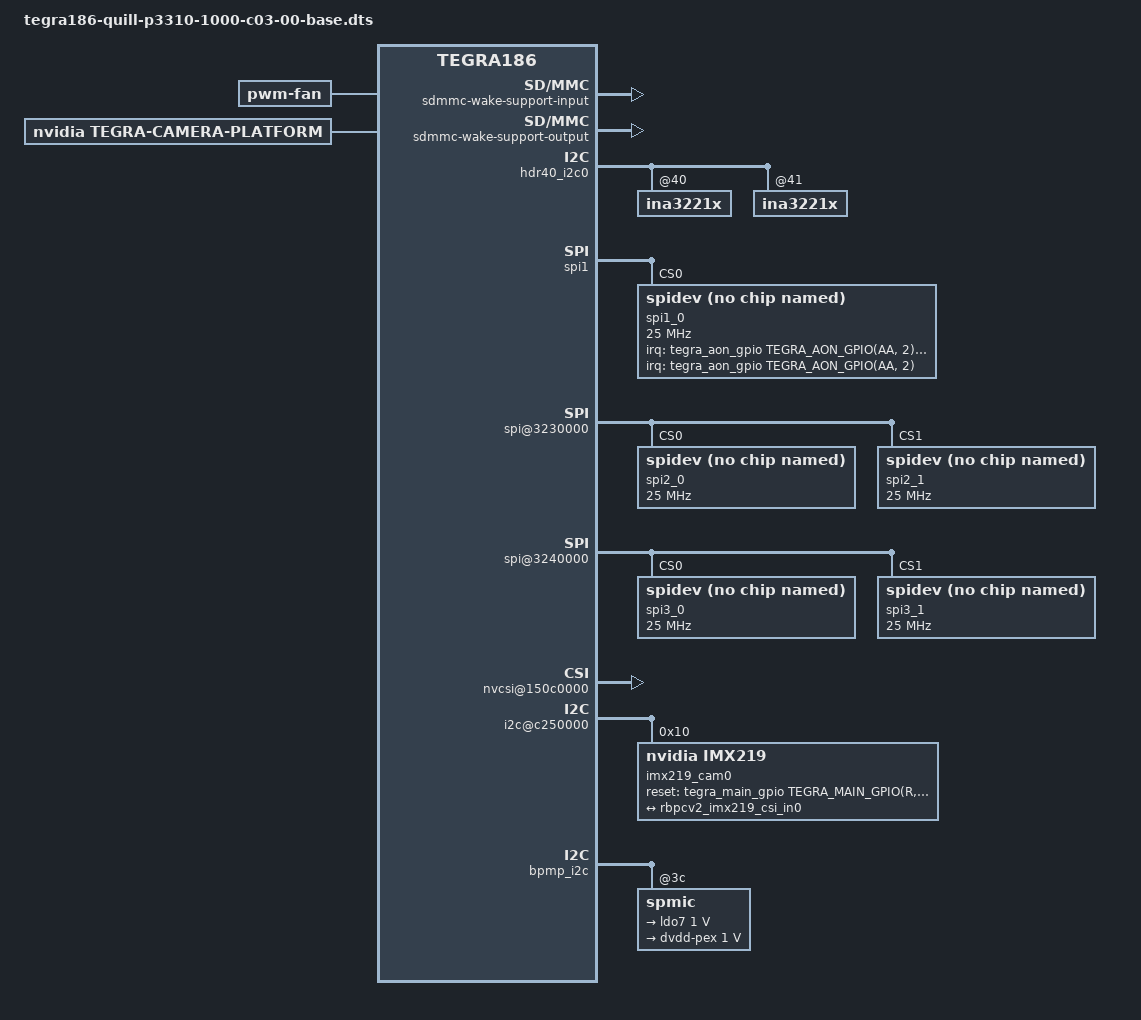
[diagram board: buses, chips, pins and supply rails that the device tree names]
/*
 * tegra186-quill-p3310-c03-00-base.dts Quill C03 Board
 *
 * Copyright (c) 2016-2019, NVIDIA CORPORATION. All rights reserved.
 *
 * This program is free software; you can redistribute it and/or modify
 * it under the terms of the GNU General Public License as published by
 * the Free Software Foundation; version 2 of the License.
 *
 * This program is distributed in the hope that it will be useful, but WITHOUT
 * ANY WARRANTY; without even the implied warranty of MERCHANTABILITY or
 * FITNESS FOR A PARTICULAR PURPOSE.  See the GNU General Public License for
 * more details.
 */

#include "tegra186-quill-p3310-1000-a00-00-base.dts"

/ {
	nvidia,dtsfilename = __FILE__;
	nvidia,dtbbuildtime = __DATE__, __TIME__;
	nvidia,fastboot-usb-vid = <0x0955>;
	nvidia,fastboot-usb-pid = <0xee16>;

	pinmux@2430000 {
		common {
			gpio_edp2_pp5 {
				status = "okay";
			};

			gpio_edp3_pp6 {
				status = "okay";
			};
		};
	};

	gpio@2200000 {
		/* gpio-name for 40-pin header, gpio-name given as COL(10) x ROW(20) */
		gpio-line-names = "",   "",     "",     "",     "",     "",     "",     "",     "",     "",
		"",     "",     "",    "",    "",     "",     "",    "",    "",     "",
		"",     "",     "",     "",     "",     "",     "",     "",     "",     "",
		"",     "",     "",     "",     "",     "",     "",     "",     "",      "",
		"",     "",     "",     "",     "",     "",     "",     "",     "",     "",
		"",    "",    "",     "",     "",     "",     "",     "",     "",     "",
		"",     "",     "",     "",     "",     "",     "",     "",     "GPIO8_ALS_PROX_INT",     "GPIO11_AP_WAKE_BT",
		"",     "",     "I2S0_CLK",     "I2S0_SDOUT",     "I2S0_SDIN",     "I2S0_LRCLK",     "AUDIO_MCLK",    "GPIO20_AUD_INT",    "GPIO1_AUD_RST",   "",
		"",     "",     "",     "",     "",     "",     "",     "",     "",     "",
		"",     "",     "",     "",     "",     "",     "",     "",     "",     "",
		"",     "",     "",     "",     "",     "",     "",     "SPI1_CLK",     "SPI1_MISO",     "SPI1_MOSI",
		"SPI1_CS0",     "",     "",     "",     "",     "",     "",     "",     "",     "",
		"",     "",     "",     "",     "",     "",     "",     "",     "",     "",
		"",     "",     "",     "",     "",     "",     "",     "",     "",     "",
		"",     "",     "",     "",     "",     "",     "UART0_RTS",     "UART0_CTS",     "",     "",
		"",     "",     "",     "",     "",     "",     "",     "",     "",     "",
		"",     "GPIO16_MDM_WAKE_AP",     "",     "",     "",     "",     "",     "",     "",   "",
		"",     "",     "",     "",     "",     "",     "",     "",     "",     "";

		sdmmc-wake-support-input {
			status = "okay";
		};

		sdmmc-wake-support-output {
			status = "okay";
		};
	};

	gpio@c2f0000 {
		/* gpio-name for 40-pin header, gpio-name given as COL(10) x ROW(20) */
		gpio-line-names = "",   "",     "",     "",     "",     "",     "",     "",     "",     "",
		"",     "",     "",    "",    "",     "",     "",    "",    "",     "",
		"",     "",     "",     "",     "",     "",     "",     "",     "",     "",
		"",     "",     "",     "",     "",     "",     "",     "",     "",      "",
		"AO_DMIC_IN_DAT",     "AO_DMIC_IN_CLK",     "GPIO9_MOTION_INT",     "",     "",     "",     "",     "",     "",     "",
		"",    "",    "",     "",     "",     "",     "",     "",     "",     "";
	};

	fixed-regulators {
		regulator@1 {
			gpio = <&tegra_main_gpio TEGRA_MAIN_GPIO(P, 6) 0>;
                };
	};

	sdhci@3400000 {
		cd-gpios = <&tegra_main_gpio TEGRA_MAIN_GPIO(P, 5) 0>;
		nvidia,cd-wakeup-capable;
	};

	hdr40_i2c0: i2c@3160000 {
		ina3221x@40 {
			channel@0 {
				ti,shunt-resistor-mohm = <10>;
			};
			channel@1 {
				ti,shunt-resistor-mohm = <10>;
			};
		};
		ina3221x@41 {
			channel@0 {
				ti,shunt-resistor-mohm = <20>;
			};
			channel@1 {
				ti,shunt-resistor-mohm = <10>;
			};
			channel@2 {
				ti,rail-name = "VDD_SYS_DDR";
				ti,shunt-resistor-mohm = <10>;
			};
		};
	};

	hdr40_i2c1: i2c@c240000 {
		bmi160@69 {
			compatible = "bmi,bmi160";
			reg = <0x69>;
			interrupt-parent = <&tegra_aon_gpio>;
			interrupts = <TEGRA_AON_GPIO(AA, 2) 0x01>;
			accelerometer_matrix    = [01 00 00 00 01 00 00 00 01];
			gyroscope_matrix        = [01 00 00 00 01 00 00 00 01];
			accelerometer_delay_us_min = <1250>;
			gyroscope_delay_us_min = <1250>;
			vdd-supply = <&spmic_sd3>;
			vdd_IO-supply = <&spmic_sd3>;
			status = "disabled";
		};
	};

	mttcan@c310000 {
		status = "okay";
		gpio_can_stb = <&tegra_aon_gpio TEGRA_AON_GPIO(AA, 0) GPIO_ACTIVE_HIGH>;
		gpio_can_en = <&tegra_aon_gpio TEGRA_AON_GPIO(AA, 1) GPIO_ACTIVE_HIGH>;
	};

	mttcan@c320000 {
		status = "okay";
		gpio_can_stb = <&tegra_aon_gpio TEGRA_AON_GPIO(AA, 6) GPIO_ACTIVE_HIGH>;
		gpio_can_en = <&tegra_aon_gpio TEGRA_AON_GPIO(AA, 7) GPIO_ACTIVE_HIGH>;
	};

	ahci-sata@3507000 {
		gpios = <&spmic 7 0>;
	};

	pcie-controller@10003000 {
		pci@1,0 {
			nvidia,num-lanes = <4>;
			nvidia,disable-clock-request;
		};
		pci@2,0 {
			nvidia,num-lanes = <0>;
		};
		pci@3,0 {
			nvidia,num-lanes = <1>;
		};
	};

        xhci@3530000 {
		phys = <&{/xusb_padctl@3520000/pads/usb2/lanes/usb2-0}>,
			<&{/xusb_padctl@3520000/pads/usb2/lanes/usb2-1}>,
			<&{/xusb_padctl@3520000/pads/usb2/lanes/usb2-2}>;			//usb3-1 removed for J140(fd)
		phy-names = "usb2-0", "usb2-1", "usb2-2";
		nvidia,boost_cpu_freq = <1200>;
	};

	xusb_padctl@3520000 {
		/*ports {										//removed for J140(fd)
			usb3-1 {
				status = "disabled";
			};
			usb3-0 {
				nvidia,usb2-companion = <1>;
				status = "okay";
			};
		};*/
	};

	fixed-regulators {						//added for fan on J140(fd)
		vdd_fan: regulator@13 {
			gpio = <&tegra_main_gpio TEGRA_MAIN_GPIO(J, 6) GPIO_ACTIVE_LOW>;  
		};
	};

	pwm_fan_shared_data: pfsd {					//added for fan on J140(fd)
		status = "okay";
		num_resources = <0>;
		secret = <47>;
		active_steps = <10>;
		active_rpm = <0 1000 2000 3000 4000 5000 6000 7000 10000 11000>;
		rpm_diff_tolerance = <2>;
		active_rru = <40 2 1 1 1 1 1 1 1 1>;
		active_rrd = <40 2 1 1 1 1 1 1 1 1>;
		state_cap_lookup = <2 2 2 2 3 3 3 4 4 4>;
		pwm_period = <45334>;
		pwm_id = <3>;
		step_time = <100>; /* mesecs */
		state_cap = <7>;
		active_pwm_max = <256>;
		tach_period = <1000>;
		/*pwm_gpio = <&tegra_aon_gpio TEGRA_AON_GPIO(V, 6) GPIO_ACTIVE_LOW>; /* TEGRA_MAIN_GPIO_PV6 */
		pwm_gpio = <&tegra_main_gpio TEGRA_MAIN_GPIO(J, 6) GPIO_ACTIVE_LOW>; /* TEGRA_MAIN_GPIO_PJ6 */
	};
	pwm-fan {							//added for fan on J140(fd)
		status = "okay";
		compatible = "pwm-fan";

		shared_data = <&pwm_fan_shared_data>;
		active_pwm = <0 80 120 160 255 255 255 255 255 255>;
	};


	/delete-node/ spi@c260000;						//deleted(fd)

	spi1: spi@c260000 {							//new added(fd)
		status="okay";
		compatible = "nvidia,tegra186-spi";
		reg = <0x0 0x0c260000 0x0 0x10000>;
		interrupts = <0 37 0x04>;
		#address-cells = <1>;
		#size-cells = <0>;
		iommus = <&smmu TEGRA_SID_GPCDMA_0>;
		dmas = <&gpcdma 16>, <&gpcdma 16>;
		dma-names = "rx", "tx";
		nvidia,clk-parents = "pll_p", "osc";
		spi-max-frequency = <25000000>;
		clocks = <&tegra_car TEGRA186_CLK_SPI2>,
			<&tegra_car TEGRA186_CLK_PLLP_OUT0>,
			<&tegra_car TEGRA186_CLK_OSC>;
		clock-names = "spi", "pll_p", "osc";
		resets = <&tegra_car TEGRA186_RESET_SPI2>;
		reset-names = "spi";
			
		spi1_0 {
			status = "okay";
			#address-cells = <0x1>;
			#size-cells = <0x0>;
			compatible = "spidev";
			reg = <0>;
			spi-max-frequency = <25000000>;
			nvidia,enable-hw-based-cs;
			nvidia,cs-setup-clk-count = <0x1e>;
			nvidia,cs-hold-clk-count = <0x1e>;
			nvidia,rx-clk-tap-delay = <0x1f>;
			nvidia,tx-clk-tap-delay = <0x0>;			

			irq-gpio = <&tegra_aon_gpio TEGRA_AON_GPIO(AA, 2) 0x01>;
			interrupt-parent = <&tegra_aon_gpio>;
			interrupts = <TEGRA_AON_GPIO(AA, 2) 0x01>; // GPIO_PAA2
		};
	};

	spi@3230000 {			//new(fd)
		status="okay";
		spi2_0 {
			compatible = "spidev";
			status = "okay";
			reg = <0>;
			spi-max-frequency = <25000000>;			
		};
		spi2_1 {
			compatible = "spidev";
			status = "okay";
			reg = <1>;
			spi-max-frequency = <25000000>;			
		};
	};


	spi@3240000 {			//new(fd)
		status="okay";
		spi3_0 {
			compatible = "spidev";
			status = "okay";
			reg = <0>;
			spi-max-frequency = <25000000>;			
		};
		spi3_1 {
			compatible = "spidev";
			status = "okay";
			reg = <1>;
			spi-max-frequency = <25000000>;			
		};
	};

//######################################################################################################################

	host1x {
		vi@15700000 {
			num-channels = <1>;
			status="okay";
			ports {
				#address-cells = <1>;
				#size-cells = <0>;
				status="okay";
				//delete-node/ port@0;
				port@0 {
					status="okay";
					reg = <0>;
					rbpcv2_imx219_vi_in0: endpoint {
						status="okay";
						port-index = <0>;
						bus-width = <2>;
						remote-endpoint = <&rbpcv2_imx219_csi_out0>;
					};
				};
			};
		};

		nvcsi@150c0000 {
			status="okay";
			num-channels = <1>;
			#address-cells = <1>;
			#size-cells = <0>;
			//delete-node/ channel@0;
			channel@0 {
				reg = <0>;
				ports {
					status="okay";
					#address-cells = <1>;
					#size-cells = <0>;
					port@0 {
						reg = <0>;
						status="okay";
						rbpcv2_imx219_csi_in0: endpoint@0 {
							port-index = <0>;
							bus-width = <2>;
							remote-endpoint = <&rbpcv2_imx219_dual_out0>;
							status="okay";
						};
					};
					port@1 {
						reg = <1>;
						status="okay";
						rbpcv2_imx219_csi_out0: endpoint@1 {
							remote-endpoint = <&rbpcv2_imx219_vi_in0>;
							status="okay";
						};
					};
				};
			};
		};
	};

	i2c@c250000 {									
		status="okay";
		imx219_cam0: rbpcv2_imx219_e@10 {
			status="okay";
			reset-gpios = <&tegra_main_gpio TEGRA_MAIN_GPIO(R, 1) GPIO_ACTIVE_HIGH>;
			compatible = "nvidia,imx219";
			reg = <0x10>;

			devnode = "video0";

			physical_w = "3.680";
			physical_h = "2.760";

			sensor_model = "imx219";

			use_sensor_mode_id = "true";

			mode0 { 
				mclk_khz = "24000";
				num_lanes = "2";
				tegra_sinterface = "serial_e";
				phy_mode = "DPHY";
				discontinuous_clk = "yes";
				dpcm_enable = "false";
				cil_settletime = "0";

				active_w = "3264";
				active_h = "2464";
				pixel_t = "bayer_rggb";
				readout_orientation = "90";
				line_length = "3448";
				inherent_gain = "1";
				mclk_multiplier = "9.33";
				pix_clk_hz = "182400000";

				gain_factor = "16";
				framerate_factor = "1000000";
				exposure_factor = "1000000";
				min_gain_val = "16"; 
				max_gain_val = "170"; 
				step_gain_val = "1";
				default_gain = "16"; 
				min_hdr_ratio = "1";
				max_hdr_ratio = "1";
				min_framerate = "2000000"; 
				max_framerate = "21000000"; 
				step_framerate = "1";
				default_framerate = "21000000"; 
				min_exp_time = "13"; 
				max_exp_time = "683709"; 
				step_exp_time = "1";
				default_exp_time = "2495"; 

				embedded_metadata_height = "2";
			};
			mode1 { 
				mclk_khz = "24000";
				num_lanes = "2";
				tegra_sinterface = "serial_e";
				phy_mode = "DPHY";
				discontinuous_clk = "yes";
				dpcm_enable = "false";
				cil_settletime = "0";

				active_w = "3264";
				active_h = "1848";
				pixel_t = "bayer_rggb";
				readout_orientation = "90";
				line_length = "3448";
				inherent_gain = "1";
				mclk_multiplier = "9.33";
				pix_clk_hz = "182400000";

				gain_factor = "16";
				framerate_factor = "1000000";
				exposure_factor = "1000000";
				min_gain_val = "16"; 
				max_gain_val = "170"; 
				step_gain_val = "1";
				default_gain = "16"; 
				min_hdr_ratio = "1";
				max_hdr_ratio = "1";
				min_framerate = "2000000"; 
				max_framerate = "28000000"; 
				step_framerate = "1";
				default_framerate = "28000000"; 
				min_exp_time = "13"; 
				max_exp_time = "683709"; 
				step_exp_time = "1";
				default_exp_time = "2495"; 

				embedded_metadata_height = "2";
			};
			mode2 { 
				mclk_khz = "24000";
				num_lanes = "2";
				tegra_sinterface = "serial_e";
				phy_mode = "DPHY";
				discontinuous_clk = "yes";
				dpcm_enable = "false";
				cil_settletime = "0";

				active_w = "1920";
				active_h = "1080";
				pixel_t = "bayer_rggb";
				readout_orientation = "90";
				line_length = "3448";
				inherent_gain = "1";
				mclk_multiplier = "9.33";
				pix_clk_hz = "182400000";

				gain_factor = "16";
				framerate_factor = "1000000";
				exposure_factor = "1000000";
				min_gain_val = "16"; 
				max_gain_val = "170"; 
				step_gain_val = "1";
				default_gain = "16"; 
				min_hdr_ratio = "1";
				max_hdr_ratio = "1";
				min_framerate = "2000000"; 
				max_framerate = "30000000"; 
				step_framerate = "1";
				default_framerate = "30000000"; 
				min_exp_time = "13"; 
				max_exp_time = "683709"; 
				step_exp_time = "1";
				default_exp_time = "2495"; 

				embedded_metadata_height = "2";
			};
			mode3 { 
				mclk_khz = "24000";
				num_lanes = "2";
				tegra_sinterface = "serial_e";
				phy_mode = "DPHY";
				discontinuous_clk = "yes";
				dpcm_enable = "false";
				cil_settletime = "0";

				active_w = "1280";
				active_h = "720";
				pixel_t = "bayer_rggb";
				readout_orientation = "90";
				line_length = "3448";
				inherent_gain = "1";
				mclk_multiplier = "9.33";
				pix_clk_hz = "182400000";

				gain_factor = "16";
				framerate_factor = "1000000";
				exposure_factor = "1000000";
				min_gain_val = "16"; 
				max_gain_val = "170"; 
				step_gain_val = "1";
				default_gain = "16"; 
				min_hdr_ratio = "1";
				max_hdr_ratio = "1";
				min_framerate = "2000000"; 
				max_framerate = "60000000"; 
				step_framerate = "1";
				default_framerate = "60000000"; 
				min_exp_time = "13"; 
				max_exp_time = "683709"; 
				step_exp_time = "1";
				default_exp_time = "2495"; 

				embedded_metadata_height = "2";
			};
			mode4 { 
				mclk_khz = "24000";
				num_lanes = "2";
				tegra_sinterface = "serial_e";
				phy_mode = "DPHY";
				discontinuous_clk = "yes";
				dpcm_enable = "false";
				cil_settletime = "0";

				active_w = "1280";
				active_h = "720";
				pixel_t = "bayer_rggb";
				readout_orientation = "90";
				line_length = "3448";
				inherent_gain = "1";
				mclk_multiplier = "9.33";
				pix_clk_hz = "169600000";

				gain_factor = "16";
				framerate_factor = "1000000";
				exposure_factor = "1000000";
				min_gain_val = "16"; 
				max_gain_val = "170"; 
				step_gain_val = "1";
				default_gain = "16"; 
				min_hdr_ratio = "1";
				max_hdr_ratio = "1";
				min_framerate = "2000000"; 
				max_framerate = "120000000"; 
				step_framerate = "1";
				default_framerate = "120000000"; 
				min_exp_time = "13"; 
				max_exp_time = "683709"; 
				step_exp_time = "1";
				default_exp_time = "2495"; 

				embedded_metadata_height = "2";
			};

			ports {
				#address-cells = <1>;
				#size-cells = <0>;
				status="okay";

				port@0 {
					reg = <0>;
					status="okay";
					rbpcv2_imx219_dual_out0: endpoint {
						status="okay";
						port-index = <0>;
						bus-width = <2>;
						remote-endpoint = <&rbpcv2_imx219_csi_in0>;
					};
				};
			};
		};
	};
	lens_imx219@RBPCV2 {
		status="okay";
		min_focus_distance = "0.0";
		hyper_focal = "0.0";
		focal_length = "3.04";
		f_number = "2.0";
		aperture = "0.0";
	};


//######################################################################################################################


       bluedroid_pm {
		bluedroid_pm,reset-gpio = <&tegra_main_gpio TEGRA_MAIN_GPIO(H, 5) 0>;
        };

	bpmp_i2c {
		spmic@3c {
			pinmux@0 {
				pin_gpio2 {
					status = "disabled";
				};
				pin_gpio3 {
					status = "disabled";
				};
				pin_gpio7 {
					drive-push-pull = <1>;
				};
			};

			regulators {
				ldo0 {
					maxim,active-fps-source = <MAX77620_FPS_SRC_NONE>;
				};

				ldo6 {
					maxim,active-fps-source = <MAX77620_FPS_SRC_NONE>;
					regulator-boot-on;
					regulator-always-on;
				};

				ldo7 {
					regulator-min-microvolt = <1000000>;
					regulator-max-microvolt = <1000000>;
				};

				ldo8 {
					regulator-name = "dvdd-pex";
					regulator-min-microvolt = <1000000>;
					regulator-max-microvolt = <1000000>;
				};
			};
		};
	};

	sound {
		hdr40_snd_link_i2s: nvidia,dai-link-1 { };
	};
};


/ {

	tegra-camera-platform {
		compatible = "nvidia, tegra-camera-platform";

		num_csi_lanes = <4>;
		max_lane_speed = <1500000>;
		min_bits_per_pixel = <10>;
		vi_peak_byte_per_pixel = <2>;
		vi_bw_margin_pct = <25>;
		max_pixel_rate = <240000>;
		isp_peak_byte_per_pixel = <5>;
		isp_bw_margin_pct = <25>;

		modules {
			status="okay";
			cam_module0: module0 {
				badge = "porg_front_RBPCV2";
				position = "front";
				orientation = "1";
				status="okay";
				cam_module0_drivernode0: drivernode0 {
					status="okay";
					pcl_id = "v4l2_sensor";
					devname = "imx219 7-0010";
					proc-device-tree = "/proc/device-tree/i2c@c250000/rbpcv2_imx219_e@10";	
				};
				cam_module0_drivernode1: drivernode1 {
					status="okay";
					pcl_id = "v4l2_lens";
					proc-device-tree = "/proc/device-tree/lens_imx219@RBPCV2/";
				};
			};
		};
	};
};
